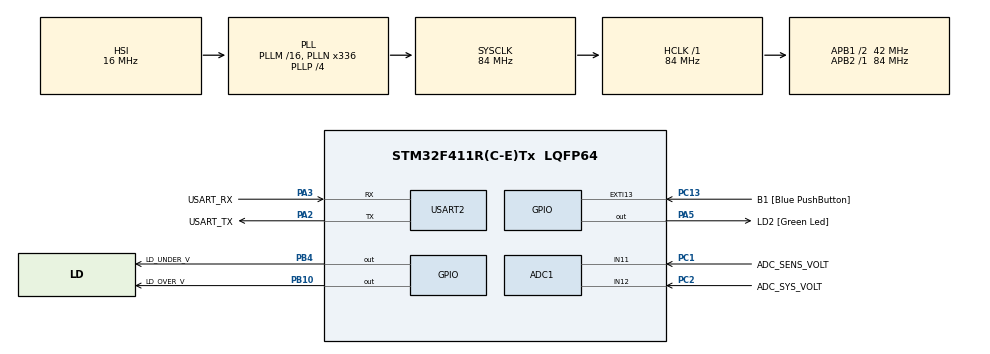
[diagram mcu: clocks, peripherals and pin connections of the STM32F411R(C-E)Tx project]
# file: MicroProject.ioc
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ADC1.Channel-0\#ChannelRegularConversion=ADC_CHANNEL_12
ADC1.NbrOfConversionFlag=1
ADC1.Rank-0\#ChannelRegularConversion=1
ADC1.SamplingTime-0\#ChannelRegularConversion=ADC_SAMPLETIME_3CYCLES
ADC1.master=1
Mcu.Family=STM32F4
Mcu.Name=STM32F411R(C-E)Tx
Mcu.Package=LQFP64
NVIC.EXTI15_10_IRQn=true\:0\:0\:false\:false\:true\:true\:true\:true
NVIC.PriorityGroup=NVIC_PRIORITYGROUP_0
NVIC.RTC_Alarm_IRQn=true\:0\:0\:false\:false\:true\:true\:true\:true
NVIC.TIM1_TRG_COM_TIM11_IRQn=true\:0\:0\:false\:false\:true\:true\:true\:true
NVIC.TIM1_UP_TIM10_IRQn=true\:0\:1\:false\:false\:true\:true\:true\:true
PA13.GPIO_Label=TMS
PA13.Mode=Serial_Wire
PA13.Signal=SYS_JTMS-SWDIO
PA14.GPIO_Label=TCK
PA14.Mode=Serial_Wire
PA14.Signal=SYS_JTCK-SWCLK
PA2.GPIO_Label=USART_TX
PA2.Mode=Asynchronous
PA2.Signal=USART2_TX
PA3.GPIO_Label=USART_RX
PA3.Mode=Asynchronous
PA3.Signal=USART2_RX
PA5.GPIO_Label=LD2 [Green Led]
PA5.Signal=GPIO_Output
PB10.GPIO_Label=LD_OVER_V
PB10.Signal=GPIO_Output
PB3.GPIO_Label=SWO
PB3.Signal=SYS_JTDO-SWO
PB4.GPIO_Label=LD_UNDER_V
PB4.Signal=GPIO_Output
PC1.GPIO_Label=ADC_SENS_VOLT
PC1.Signal=ADCx_IN11
PC13-ANTI_TAMP.GPIO_Label=B1 [Blue PushButton]
PC13-ANTI_TAMP.GPIO_ModeDefaultEXTI=GPIO_MODE_IT_FALLING
PC13-ANTI_TAMP.Signal=GPXTI13
PC14-OSC32_IN.Mode=LSE-External-Oscillator
PC14-OSC32_IN.Signal=RCC_OSC32_IN
PC15-OSC32_OUT.Mode=LSE-External-Oscillator
PC15-OSC32_OUT.Signal=RCC_OSC32_OUT
PC2.GPIO_Label=ADC_SYS_VOLT
PC2.Signal=ADCx_IN12
PH0\ -\ OSC_IN.Mode=HSE-External-Clock-Source
PH0\ -\ OSC_IN.Signal=RCC_OSC_IN
PH1\ -\ OSC_OUT.Mode=HSE-External-Clock-Source
PH1\ -\ OSC_OUT.Signal=RCC_OSC_OUT
ProjectManager.HeapSize=0x200
ProjectManager.StackSize=0x400
ProjectManager.TargetToolchain=STM32CubeIDE
RCC.48MHZClocksFreq_Value=84000000
RCC.AHBFreq_Value=84000000
RCC.APB1CLKDivider=RCC_HCLK_DIV2
RCC.APB1Freq_Value=42000000
RCC.APB1TimFreq_Value=84000000
RCC.APB2Freq_Value=84000000
RCC.APB2TimFreq_Value=84000000
RCC.CortexFreq_Value=84000000
RCC.FLatency-AdvancedSettings=FLASH_LATENCY_2
RCC.HCLKFreq_Value=84000000
RCC.HSE_VALUE=8000000
RCC.HSI_VALUE=16000000
RCC.PLLN=336
RCC.PLLP=RCC_PLLP_DIV4
RCC.SYSCLKFreq_VALUE=84000000
RCC.SYSCLKSource=RCC_SYSCLKSOURCE_PLLCLK
RCC.VCOOutputFreq_Value=336000000
RTC.Alarm=RTC_ALARM_A
SH.ADCx_IN11.0=ADC1_IN11,IN11
SH.ADCx_IN12.0=ADC1_IN12,IN12
TIM10.Period=400-1
TIM10.Prescaler=42000 -1
TIM11.Period=1225 -1
TIM11.Prescaler=24000 - 1 
USART2.VirtualMode=VM_ASYNC
VP_RTC_VS_RTC_Activate.Mode=RTC_Enabled
VP_RTC_VS_RTC_Alarm_A_Intern.Mode=Alarm A
VP_RTC_VS_RTC_Calendar.Mode=RTC_Calendar
VP_TIM10_VS_ClockSourceINT.Mode=Enable_Timer
VP_TIM11_VS_ClockSourceINT.Mode=Enable_Timer
board=NUCLEO-F411RE

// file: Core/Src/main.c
/* USER CODE BEGIN Header */
/**
 ******************************************************************************
 * @file           : main.c
 * @brief          : Main program body
 ******************************************************************************
 * @attention
 *
 * Copyright (c) 2022 STMicroelectronics.
 * All rights reserved.
 *
 * This software is licensed under terms that can be found in the LICENSE file
 * in the root directory of this software component.
 * If no LICENSE file comes with this software, it is provided AS-IS.
 *
 ******************************************************************************
 */
/* USER CODE END Header */
#include "main.h"

/* USER CODE BEGIN Includes */
#include <string.h>
#include <stdio.h>
#include <stdbool.h>
/* USER CODE END Includes */

/* USER CODE BEGIN PTD */
typedef enum {
	STATE_RUNNING, STATE_WAITING, STATE_DANGER
} State_t;

/* USER CODE END PTD */

/* USER CODE BEGIN PM */
//#define SLEEP_MODE
/* USER CODE END PM */

ADC_HandleTypeDef hadc1;

RTC_HandleTypeDef hrtc;

TIM_HandleTypeDef htim10;
TIM_HandleTypeDef htim11;

UART_HandleTypeDef huart2;

/* USER CODE BEGIN PV */
State_t current_state = STATE_RUNNING;
/* USER CODE END PV */

void SystemClock_Config(void);
static void MX_GPIO_Init(void);
static void MX_USART2_UART_Init(void);
static void MX_TIM10_Init(void);
static void MX_TIM11_Init(void);
static void MX_ADC1_Init(void);
static void MX_RTC_Init(void);

/* USER CODE BEGIN 0 */

float sens_val = 0;
float sys_voltage = 2.0;

bool first_entry = true;
bool sys_v_change = false;
bool sens_val_change = false;

RTC_TimeTypeDef sTime;
RTC_DateTypeDef sDate;
/* USER CODE END 0 */

int main(void)
{
  /* USER CODE BEGIN 1 */
	ADC_ChannelConfTypeDef sConfig = {0};
	sConfig.SamplingTime = ADC_SAMPLETIME_3CYCLES;
	sConfig.Rank = 1;

	uint16_t raw;
  /* USER CODE END 1 */

  /* MCU Configuration--------------------------------------------------------*/

  /* Reset of all peripherals, Initializes the Flash interface and the Systick. */
  HAL_Init();

  /* Configure the system clock */
  SystemClock_Config();

  /* Initialize all configured peripherals */
  MX_GPIO_Init();
  MX_USART2_UART_Init();
  MX_TIM10_Init();
  MX_TIM11_Init();
  MX_ADC1_Init();

  #ifdef SLEEP_MODE
  	  MX_RTC_Init();
  #endif
  /* USER CODE BEGIN 2 */

  // set default msg for STATE_WAITING
  char w_msg[65];
  strcpy(w_msg, "Board in waiting state - please press the emergency button\r\n");

  char val_msg[50];

  HAL_TIM_Base_Start_IT(&htim10);
  HAL_TIM_Base_Start_IT(&htim11);
  /* USER CODE END 2 */

  /* Infinite loop */
  /* USER CODE BEGIN WHILE */
	while (1) {

		switch (current_state) {
			case STATE_RUNNING:
				#ifdef SLEEP_MODE
					//WITH SLEEPING MODE WE NEED RTC
				 	if(!sys_v_change && !sens_val_change){
				 		HAL_SuspendTick(); // prevent wakeup from systick interrupt
				 		HAL_PWR_EnterSLEEPMode(PWR_MAINREGULATOR_ON, PWR_SLEEPENTRY_WFI); //enter sleep mode
				 	}
				#endif

				if(sens_val_change || sys_v_change){
					if(sens_val_change == true){
						sConfig.Channel = ADC_CHANNEL_11; // select sensor's channel
					}else if(sys_v_change == true){
						sConfig.Channel = ADC_CHANNEL_12; // select potentiometer's channel
					}

					HAL_ADC_ConfigChannel(&hadc1, &sConfig); // set selected channel

					HAL_ADC_Start(&hadc1); // start getting ADC value
					HAL_ADC_PollForConversion(&hadc1, HAL_MAX_DELAY); //hang until the conversion is done
					raw = HAL_ADC_GetValue(&hadc1); // get raw value
					HAL_ADC_Stop(&hadc1); // stop ADC reading

					#ifdef SLEEP_MODE
						HAL_RTC_GetTime(&hrtc, &sTime, RTC_FORMAT_BIN); // take timing
						HAL_RTC_GetDate(&hrtc, &sDate, RTC_FORMAT_BIN); // take timing
					#endif

					if(sens_val_change){
						sens_val = (raw * 330.0) / 4095.0; // 3.3 -> Vin * 100 (sensor scale factor 10mV/C), 4095 -> 2^(12) - 1

					}else if(sys_v_change){
						sys_voltage = (raw * 3.3) / 4095.0; // 3.3 -> Vin , 4095 -> 2^(12) - 1

						// CHECK SYSTEM VOLTAGE
						if(sys_voltage < 1.8 || sys_voltage > 2.7){  // switch to STATE_DANGER
							current_state = STATE_DANGER;
						}
					}

					#ifdef SLEEP_MODE
						uint32_t msec = 1000 * (sTime.SecondFraction - sTime.SubSeconds) / (sTime.SecondFraction + 1);
					#else
						//uint32_t msec = HAL_GetTick()/10;//%1000;
					#endif

					if(sens_val_change){
						sens_val_change = false;

						#ifdef SLEEP_MODE
							sprintf(val_msg, "T: %.2f (%02d:%02d:%lu)\r\n", sens_val, sTime.Minutes, sTime.Seconds, msec);
						#else
							sprintf(val_msg,"T: %.2f (%lu ms)\r\n", sens_val, HAL_GetTick()/10 );
						#endif

					}else if(sys_v_change){

						if(current_state != STATE_DANGER) // otherwise I won't check the value in STATE_DANGER code
							sys_v_change = false;

						#ifdef SLEEP_MODE
							sprintf(val_msg, "V: %.2f (%02d:%02d:%lu)\r\n", sys_voltage, sTime.Minutes, sTime.Seconds, HAL_GetTick()/10);
						#else
							sprintf(val_msg,"V: %.2f (%lu ms)\r\n", sys_voltage, HAL_GetTick()/10 );
						#endif
					}

					HAL_UART_Transmit(&huart2, (uint8_t*) val_msg, strlen(val_msg), HAL_MAX_DELAY);
				}
				break;

			case STATE_DANGER:
				if(sys_v_change){
					sys_v_change = false;

					HAL_ADC_Start(&hadc1); // start getting ADC value
					HAL_ADC_PollForConversion(&hadc1, HAL_MAX_DELAY); //hang until the conversion is done
					raw = HAL_ADC_GetValue(&hadc1); // get raw value
					HAL_ADC_Stop(&hadc1); // stop ADC reading

					sys_voltage = (raw * 3.3) / 4095.0; // 3.3 -> Vin , 4095 -> 2^(12) - 1

					// CHECK SYSTEM VOLTAGE
					if(sys_voltage < 1.8){  // enable UNDERVOLTAGE LED
						HAL_GPIO_WritePin(LD_UNDER_V_GPIO_Port, LD_UNDER_V_Pin, GPIO_PIN_SET);
						HAL_GPIO_WritePin(LD_OVER_V_GPIO_Port, LD_OVER_V_Pin, GPIO_PIN_RESET);

						sprintf(val_msg, "SYSTEM VOLTAGE: UNDERVOLTAGE (%f)\r\n", sys_voltage );

					}else if(sys_voltage > 2.7){  // enable OVERVOLTAGE LED
						HAL_GPIO_WritePin(LD_OVER_V_GPIO_Port, LD_OVER_V_Pin, GPIO_PIN_SET);
						HAL_GPIO_WritePin(LD_UNDER_V_GPIO_Port, LD_UNDER_V_Pin, GPIO_PIN_RESET);

						sprintf(val_msg, "SYSTEM VOLTAGE: OVERVOLTAGE (%f)\r\n", sys_voltage );

					}else{  // disable all LED and switch to STATE_RUNNING
						current_state = STATE_RUNNING;
						HAL_GPIO_WritePin(LD_UNDER_V_GPIO_Port, LD_UNDER_V_Pin, GPIO_PIN_RESET);
						HAL_GPIO_WritePin(LD_OVER_V_GPIO_Port, LD_OVER_V_Pin, GPIO_PIN_RESET);

						sprintf(val_msg, "SYSTEM VOLTAGE: OK (%f)\r\n", sys_voltage );
					}

					HAL_UART_Transmit(&huart2, (uint8_t *) val_msg, strlen(val_msg), HAL_MAX_DELAY);

				}

				#ifdef SLEEP_MODE
					HAL_SuspendTick(); // prevent wakeup from systick interrupt
					HAL_PWR_EnterSLEEPMode(PWR_MAINREGULATOR_ON, PWR_SLEEPENTRY_WFI); //enter sleep mode
				#endif

				break;

			case STATE_WAITING:

				if(first_entry){
					HAL_TIM_Base_Stop_IT(&htim10);
					HAL_TIM_Base_Stop_IT(&htim11);
					HAL_GPIO_WritePin(LD_UNDER_V_GPIO_Port, LD_UNDER_V_Pin, GPIO_PIN_RESET);
					HAL_GPIO_WritePin(LD_OVER_V_GPIO_Port, LD_OVER_V_Pin, GPIO_PIN_RESET);
					first_entry = false;
				}

				HAL_UART_Transmit(&huart2, (uint8_t*) w_msg, strlen(w_msg), HAL_MAX_DELAY);
				HAL_Delay(500);

				break;
		}

    /* USER CODE END WHILE */

	}
}

void SystemClock_Config(void)
{
  RCC_OscInitTypeDef RCC_OscInitStruct = {0};
  RCC_ClkInitTypeDef RCC_ClkInitStruct = {0};

  /** Configure the main internal regulator output voltage
  */
  __HAL_RCC_PWR_CLK_ENABLE();
  __HAL_PWR_VOLTAGESCALING_CONFIG(PWR_REGULATOR_VOLTAGE_SCALE1);

  /** Initializes the RCC Oscillators according to the specified parameters
  * in the RCC_OscInitTypeDef structure.
  */
  RCC_OscInitStruct.OscillatorType = RCC_OSCILLATORTYPE_HSI|RCC_OSCILLATORTYPE_LSI;
  RCC_OscInitStruct.HSIState = RCC_HSI_ON;
  RCC_OscInitStruct.HSICalibrationValue = RCC_HSICALIBRATION_DEFAULT;
  RCC_OscInitStruct.LSIState = RCC_LSI_ON;
  RCC_OscInitStruct.PLL.PLLState = RCC_PLL_ON;
  RCC_OscInitStruct.PLL.PLLSource = RCC_PLLSOURCE_HSI;
  RCC_OscInitStruct.PLL.PLLM = 16;
  RCC_OscInitStruct.PLL.PLLN = 336;
  RCC_OscInitStruct.PLL.PLLP = RCC_PLLP_DIV4;
  RCC_OscInitStruct.PLL.PLLQ = 4;
  if (HAL_RCC_OscConfig(&RCC_OscInitStruct) != HAL_OK)
  {
    Error_Handler();
  }

  /** Initializes the CPU, AHB and APB buses clocks
  */
  RCC_ClkInitStruct.ClockType = RCC_CLOCKTYPE_HCLK|RCC_CLOCKTYPE_SYSCLK
                              |RCC_CLOCKTYPE_PCLK1|RCC_CLOCKTYPE_PCLK2;
  RCC_ClkInitStruct.SYSCLKSource = RCC_SYSCLKSOURCE_PLLCLK;
  RCC_ClkInitStruct.AHBCLKDivider = RCC_SYSCLK_DIV1;
  RCC_ClkInitStruct.APB1CLKDivider = RCC_HCLK_DIV2;
  RCC_ClkInitStruct.APB2CLKDivider = RCC_HCLK_DIV1;

  if (HAL_RCC_ClockConfig(&RCC_ClkInitStruct, FLASH_LATENCY_2) != HAL_OK)
  {
    Error_Handler();
  }
}

static void MX_ADC1_Init(void)
{

  ADC_ChannelConfTypeDef sConfig = {0};

  /** Configure the global features of the ADC (Clock, Resolution, Data Alignment and number of conversion)
  */
  hadc1.Instance = ADC1;
  hadc1.Init.ClockPrescaler = ADC_CLOCK_SYNC_PCLK_DIV4;
  hadc1.Init.Resolution = ADC_RESOLUTION_12B;
  hadc1.Init.ScanConvMode = DISABLE;
  hadc1.Init.ContinuousConvMode = DISABLE;
  hadc1.Init.DiscontinuousConvMode = DISABLE;
  hadc1.Init.ExternalTrigConvEdge = ADC_EXTERNALTRIGCONVEDGE_NONE;
  hadc1.Init.ExternalTrigConv = ADC_SOFTWARE_START;
  hadc1.Init.DataAlign = ADC_DATAALIGN_RIGHT;
  hadc1.Init.NbrOfConversion = 1;
  hadc1.Init.DMAContinuousRequests = DISABLE;
  hadc1.Init.EOCSelection = ADC_EOC_SINGLE_CONV;
  if (HAL_ADC_Init(&hadc1) != HAL_OK)
  {
    Error_Handler();
  }

  /** Configure for the selected ADC regular channel its corresponding rank in the sequencer and its sample time.
  */
  sConfig.Channel = ADC_CHANNEL_12;
  sConfig.Rank = 1;
  sConfig.SamplingTime = ADC_SAMPLETIME_3CYCLES;
  if (HAL_ADC_ConfigChannel(&hadc1, &sConfig) != HAL_OK)
  {
    Error_Handler();
  }

}

static void MX_RTC_Init(void)
{

  RTC_TimeTypeDef sTime = {0};
  RTC_DateTypeDef sDate = {0};
  RTC_AlarmTypeDef sAlarm = {0};

  /** Initialize RTC Only
  */
  hrtc.Instance = RTC;
  hrtc.Init.HourFormat = RTC_HOURFORMAT_24;
  hrtc.Init.AsynchPrediv = 127;
  hrtc.Init.SynchPrediv = 255;
  hrtc.Init.OutPut = RTC_OUTPUT_DISABLE;
  hrtc.Init.OutPutPolarity = RTC_OUTPUT_POLARITY_HIGH;
  hrtc.Init.OutPutType = RTC_OUTPUT_TYPE_OPENDRAIN;
  if (HAL_RTC_Init(&hrtc) != HAL_OK)
  {
    Error_Handler();
  }

  /** Initialize RTC and set the Time and Date
  */
  sTime.Hours = 0x0;
  sTime.Minutes = 0x0;
  sTime.Seconds = 0x0;
  sTime.DayLightSaving = RTC_DAYLIGHTSAVING_NONE;
  sTime.StoreOperation = RTC_STOREOPERATION_RESET;
  if (HAL_RTC_SetTime(&hrtc, &sTime, RTC_FORMAT_BCD) != HAL_OK)
  {
    Error_Handler();
  }
  sDate.WeekDay = RTC_WEEKDAY_MONDAY;
  sDate.Month = RTC_MONTH_JANUARY;
  sDate.Date = 0x1;
  sDate.Year = 0x0;

  if (HAL_RTC_SetDate(&hrtc, &sDate, RTC_FORMAT_BCD) != HAL_OK)
  {
    Error_Handler();
  }

  /** Enable the Alarm A
  */
  sAlarm.AlarmTime.Hours = 0x0;
  sAlarm.AlarmTime.Minutes = 0x0;
  sAlarm.AlarmTime.Seconds = 0x0;
  sAlarm.AlarmTime.SubSeconds = 0x0;
  sAlarm.AlarmTime.DayLightSaving = RTC_DAYLIGHTSAVING_NONE;
  sAlarm.AlarmTime.StoreOperation = RTC_STOREOPERATION_RESET;
  sAlarm.AlarmMask = RTC_ALARMMASK_NONE;
  sAlarm.AlarmSubSecondMask = RTC_ALARMSUBSECONDMASK_ALL;
  sAlarm.AlarmDateWeekDaySel = RTC_ALARMDATEWEEKDAYSEL_DATE;
  sAlarm.AlarmDateWeekDay = 0x1;
  sAlarm.Alarm = RTC_ALARM_A;
  if (HAL_RTC_SetAlarm_IT(&hrtc, &sAlarm, RTC_FORMAT_BCD) != HAL_OK)
  {
    Error_Handler();
  }

}

static void MX_TIM10_Init(void)
{

  /* USER CODE BEGIN TIM10_Init 0 */
	/* Set the URS bit */

	  TIM10-> CR1 |= TIM_CR1_URS;

	//  __HAL_TIM_CLEAR_FLAG(&htim10, TIM_FLAG_UPDATE);
  /* USER CODE END TIM10_Init 0 */

  htim10.Instance = TIM10;
  htim10.Init.Prescaler = 42000 -1;
  htim10.Init.CounterMode = TIM_COUNTERMODE_UP;
  htim10.Init.Period = 400-1;
  htim10.Init.ClockDivision = TIM_CLOCKDIVISION_DIV1;
  htim10.Init.AutoReloadPreload = TIM_AUTORELOAD_PRELOAD_DISABLE;

  if (HAL_TIM_Base_Init(&htim10) != HAL_OK)
  {
    Error_Handler();
  }
  /* USER CODE BEGIN TIM10_Init 2 */

  __HAL_TIM_CLEAR_FLAG(&htim10, TIM_FLAG_UPDATE);

  /* USER CODE END TIM10_Init 2 */

}

static void MX_TIM11_Init(void)
{

  /* USER CODE BEGIN TIM11_Init 0 */
	/* Set the URS bit */
	TIM11->ARR = 0;
	TIM11-> CR1 |= TIM_CR1_URS;

  /* USER CODE END TIM11_Init 0 */

  htim11.Instance = TIM11;
  htim11.Init.Prescaler = 24000 - 1 ;
  htim11.Init.CounterMode = TIM_COUNTERMODE_UP;
  htim11.Init.Period = 1225 -1;
  htim11.Init.ClockDivision = TIM_CLOCKDIVISION_DIV1;
  htim11.Init.AutoReloadPreload = TIM_AUTORELOAD_PRELOAD_DISABLE;
  if (HAL_TIM_Base_Init(&htim11) != HAL_OK)
  {
    Error_Handler();
  }
  /* USER CODE BEGIN TIM11_Init 2 */
  __HAL_TIM_CLEAR_FLAG(&htim11, TIM_FLAG_UPDATE);
  /* USER CODE END TIM11_Init 2 */

}

static void MX_USART2_UART_Init(void)
{

  huart2.Instance = USART2;
  huart2.Init.BaudRate = 115200;
  huart2.Init.WordLength = UART_WORDLENGTH_8B;
  huart2.Init.StopBits = UART_STOPBITS_1;
  huart2.Init.Parity = UART_PARITY_NONE;
  huart2.Init.Mode = UART_MODE_TX_RX;
  huart2.Init.HwFlowCtl = UART_HWCONTROL_NONE;
  huart2.Init.OverSampling = UART_OVERSAMPLING_16;
  if (HAL_UART_Init(&huart2) != HAL_OK)
  {
    Error_Handler();
  }

}

static void MX_GPIO_Init(void)
{
  GPIO_InitTypeDef GPIO_InitStruct = {0};

  /* GPIO Ports Clock Enable */
  __HAL_RCC_GPIOC_CLK_ENABLE();
  __HAL_RCC_GPIOH_CLK_ENABLE();
  __HAL_RCC_GPIOA_CLK_ENABLE();
  __HAL_RCC_GPIOB_CLK_ENABLE();

  /*Configure GPIO pin Output Level */
  HAL_GPIO_WritePin(LD2_GPIO_Port, LD2_Pin, GPIO_PIN_RESET);

  /*Configure GPIO pin Output Level */
  HAL_GPIO_WritePin(GPIOB, LD_OVER_V_Pin|LD_UNDER_V_Pin, GPIO_PIN_RESET);

  /*Configure GPIO pin : B1_Pin */
  GPIO_InitStruct.Pin = B1_Pin;
  GPIO_InitStruct.Mode = GPIO_MODE_IT_FALLING;
  GPIO_InitStruct.Pull = GPIO_NOPULL;
  HAL_GPIO_Init(B1_GPIO_Port, &GPIO_InitStruct);

  /*Configure GPIO pin : LD2_Pin */
  GPIO_InitStruct.Pin = LD2_Pin;
  GPIO_InitStruct.Mode = GPIO_MODE_OUTPUT_PP;
  GPIO_InitStruct.Pull = GPIO_NOPULL;
  GPIO_InitStruct.Speed = GPIO_SPEED_FREQ_LOW;
  HAL_GPIO_Init(LD2_GPIO_Port, &GPIO_InitStruct);

  /*Configure GPIO pins : LD_OVER_V_Pin LD_UNDER_V_Pin */
  GPIO_InitStruct.Pin = LD_OVER_V_Pin|LD_UNDER_V_Pin;
  GPIO_InitStruct.Mode = GPIO_MODE_OUTPUT_PP;
  GPIO_InitStruct.Pull = GPIO_NOPULL;
  GPIO_InitStruct.Speed = GPIO_SPEED_FREQ_LOW;
  HAL_GPIO_Init(GPIOB, &GPIO_InitStruct);

  /* EXTI interrupt init*/
  HAL_NVIC_SetPriority(EXTI15_10_IRQn, 0, 0);
  HAL_NVIC_EnableIRQ(EXTI15_10_IRQn);

}

/* USER CODE BEGIN 4 */

// called by IRQHandler of GPIO_EXTI
void HAL_GPIO_EXTI_Callback(uint16_t GPIO_Pin){
	#ifdef SLEEP_MODE
		HAL_ResumeTick();
	#endif

	if(GPIO_Pin == B1_Pin){
		if(current_state == STATE_RUNNING || current_state == STATE_DANGER){
			first_entry = true;
			current_state = STATE_WAITING;
		}else{
			HAL_TIM_Base_Start_IT(&htim10);
			HAL_TIM_Base_Start_IT(&htim11);
			current_state = STATE_RUNNING;
		}
	}
}

// called by IRQHandler of the timer when it resets itself
void HAL_TIM_PeriodElapsedCallback(TIM_HandleTypeDef *htim){
	#ifdef SLEEP_MODE
		HAL_ResumeTick();
	#endif

	if(htim == &htim10){
		// 200ms -> sensor value check
		sens_val_change = true;
	}else if(htim == &htim11){
		// 350ms -> sys_voltage check
		sys_v_change = true;
	}

}

/* USER CODE END 4 */

void Error_Handler(void)
{
	__disable_irq();
	while (1) {
	}
}
